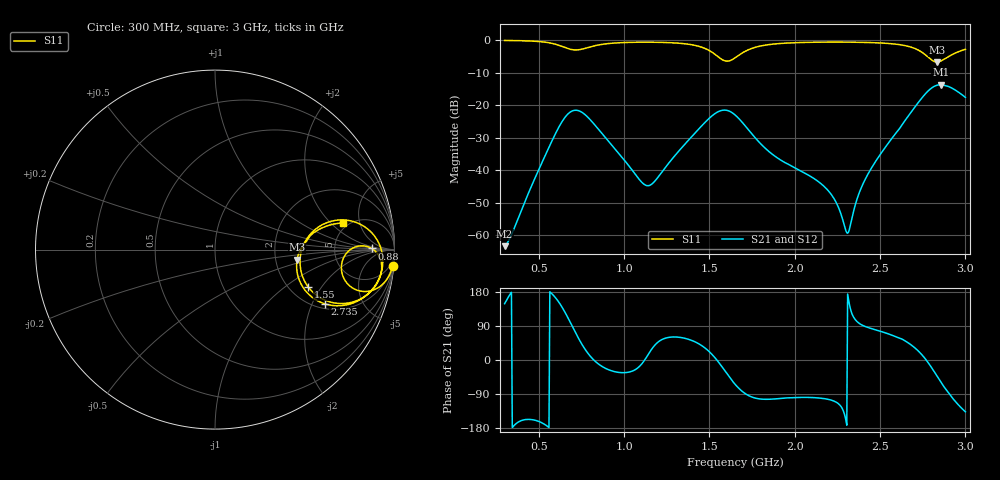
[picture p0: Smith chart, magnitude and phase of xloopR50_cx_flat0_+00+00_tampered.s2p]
! xloopR50_cx_flat0_+00+00_tampered, gap C 0.80 pF
! simulated by sim/fixtures_fdtd.py (S12 = S21, S22 not computed)
# HZ S RI R 50
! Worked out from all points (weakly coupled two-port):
!   541 points, 300 MHz to 3 GHz, reference 50 ohm
!   highest |S21| = -13.67 dB at 2.855 GHz (marker M1); lowest = -63.4 dB at 300 MHz (marker M2)
!   lowest |S11| = -6.7 dB at 2.835 GHz (marker M3), VSWR 2.71, Z = 132 - j19 ohm
!   |S11| at or under -10 dB: nowhere
!   |S22| runs from - to - dB; largest |S21 - S12| = 0
!   S11 on the Smith chart (normalised r, x): 300 MHz: 1, -21; 880 MHz: 15, +1; 1.55 GHz: 2.50, -1.53; 2.735 GHz: 2.21, -2.48; 3 GHz: 4.48, +2.81
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3e8  0.9896 -0.0926  -0.000579 0.000353  -0.000579 0.000353  0 0
3.4e8  0.9852 -0.1082  -0.00101 2.37e-05  -0.00101 2.37e-05  0 0
5e8  0.9384 -0.1888  -0.0097 -0.00314  -0.0097 -0.00314  0 0
6.25e8  0.7922 -0.2263  -0.0421 0.0265  -0.0421 0.0265  0 0
6.9e8  0.7092 -0.137  -0.0066 0.0799  -0.0066 0.0799  0 0
7.5e8  0.7265 -0.0283  0.057 0.0544  0.057 0.0544  0 0
8.8e8  0.8726 0.00665  0.0325 -0.0114  0.0325 -0.0114  0 0
1.115e9  0.9282 -0.1123  0.00612 -0.00039  0.00612 -0.00039  0 0
1.2e9  0.9176 -0.1575  0.00531 0.00582  0.00531 0.00582  0 0
1.395e9  0.8095 -0.2755  0.0201 0.0256  0.0201 0.0256  0 0
1.55e9  0.5204 -0.2096  0.0791 -0.00496  0.0791 -0.00496  0 0
1.65e9  0.5298 0.0842  0.0314 -0.0638  0.0314 -0.0638  0 0
1.83e9  0.8347 0.1265  -0.00509 -0.0208  -0.00509 -0.0208  0 0
2.1e9  0.9317 -0.0231  -0.00123 -0.00773  -0.00123 -0.00773  0 0
2.225e9  0.9345 -0.0794  -0.00116 -0.00367  -0.00116 -0.00367  0 0
2.31e9  0.9288 -0.1171  -0.00107 0.000113  -0.00107 0.000113  0 0
2.4e9  0.9149 -0.159  -9.53e-05 0.00617  -9.53e-05 0.00617  0 0
2.55e9  0.8597 -0.2397  0.00959 0.0247  0.00959 0.0247  0 0
2.735e9  0.6102 -0.3016  0.1137 0.0386  0.1137 0.0386  0 0
2.835e9  0.4574 -0.0567  0.1485 -0.1397  0.1485 -0.1397  0 0
2.855e9  0.4771 0.00399  0.1118 -0.1745  0.1118 -0.1745  0 0
3e9  0.711 0.1482  -0.0964 -0.0906  -0.0964 -0.0906  0 0
